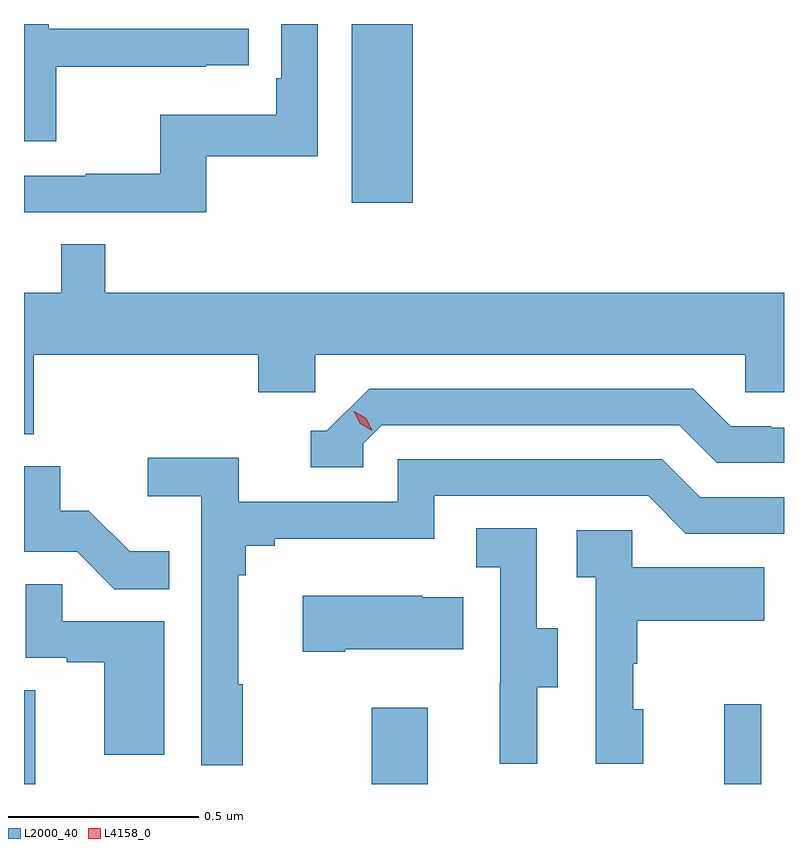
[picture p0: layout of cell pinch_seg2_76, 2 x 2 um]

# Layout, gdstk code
import gdstk
lib = gdstk.Library(unit=1e-6, precision=1e-09)
def R(c, l, rs):  # rectangles x0, y0, x1, y1
    for r in rs: c.add(gdstk.rectangle(r[:2], r[2:], *l))
def P(c, l, *ps):  # polygons
    for p in ps: c.add(gdstk.Polygon(p, *l))
L2000_40 = (2000, 40)
L4158_0 = (4158, 0)

pinch_seg2_76 = lib.new_cell('pinch_seg2_76')
R(pinch_seg2_76, L2000_40, [(1025.827,649.171,1025.857,649.418), (1026.742,649.171,1026.889,649.372), (1027.67,649.171,1027.767,649.381), (1026.689,650.7,1026.85,651.171)])
P(pinch_seg2_76, L2000_40, [(1025.912,651.058),(1026.305,651.058),(1026.305,651.063),(1026.418,651.063),(1026.418,651.159),(1025.892,651.159),(1025.892,651.171),(1025.827,651.171),(1025.827,650.862),(1025.912,650.862)],
  [(1026.307,650.823),(1026.6,650.823),(1026.6,651.171),(1026.504,651.171),(1026.504,651.028),(1026.491,651.028),(1026.491,650.932),(1026.186,650.932),(1026.186,650.777),(1025.989,650.777),(1025.989,650.772),(1025.827,650.772),(1025.827,650.676),(1026.307,650.676)],
  [(1025.852,650.3),(1026.443,650.3),(1026.443,650.202),(1026.594,650.202),(1026.594,650.3),(1027.725,650.3),(1027.725,650.202),(1027.827,650.202),(1027.827,650.464),(1026.041,650.464),(1026.041,650.591),(1025.925,650.591),(1025.925,650.464),(1025.827,650.464),(1025.827,650.092),(1025.852,650.092)],
  [(1026.72,650.067),(1026.768,650.115),(1027.551,650.115),(1027.65,650.016),(1027.827,650.016),(1027.827,650.109),(1027.794,650.109),(1027.794,650.112),(1027.687,650.112),(1027.588,650.211),(1026.735,650.211),(1026.624,650.1),(1026.581,650.1),(1026.581,650.004),(1026.72,650.004)],
  [(1026.403,649.433),(1026.391,649.433),(1026.391,649.721),(1026.41,649.721),(1026.41,649.798),(1026.487,649.798),(1026.487,649.817),(1026.906,649.817),(1026.906,649.929),(1027.47,649.929),(1027.569,649.83),(1027.827,649.83),(1027.827,649.926),(1027.606,649.926),(1027.507,650.025),(1026.81,650.025),(1026.81,649.914),(1026.392,649.914),(1026.392,650.03),(1026.153,650.03),(1026.153,649.928),(1026.294,649.928),(1026.294,649.221),(1026.403,649.221)],
  [(1026.209,649.783),(1026.105,649.783),(1025.998,649.89),(1025.922,649.89),(1025.922,650.007),(1025.827,650.007),(1025.827,649.782),(1025.967,649.782),(1026.065,649.684),(1026.209,649.684)],
  [(1027.177,649.426),(1027.231,649.426),(1027.231,649.581),(1027.176,649.581),(1027.176,649.844),(1027.017,649.844),(1027.017,649.741),(1027.08,649.741),(1027.08,649.437),(1027.079,649.437),(1027.079,649.224),(1027.177,649.224)],
  [(1027.456,649.368),(1027.43,649.368),(1027.43,649.487),(1027.441,649.487),(1027.441,649.601),(1027.775,649.601),(1027.775,649.741),(1027.428,649.741),(1027.428,649.839),(1027.281,649.839),(1027.281,649.715),(1027.332,649.715),(1027.332,649.224),(1027.456,649.224)],
  [(1026.196,649.599),(1025.927,649.599),(1025.927,649.697),(1025.832,649.697),(1025.832,649.503),(1025.939,649.503),(1025.939,649.491),(1026.038,649.491),(1026.038,649.248),(1026.196,649.248)],
  [(1026.673,649.526),(1026.983,649.526),(1026.983,649.663),(1026.875,649.663),(1026.875,649.666),(1026.561,649.666),(1026.561,649.519),(1026.673,649.519)])
P(pinch_seg2_76, L4158_0, [(1026.743,650.1),(1026.712,650.119),(1026.695,650.152),(1026.695,650.152),(1026.696,650.152),(1026.727,650.133),(1026.743,650.1),(1026.743,650.1)])

lib.write_gds('pinch_seg2_76.gds')
